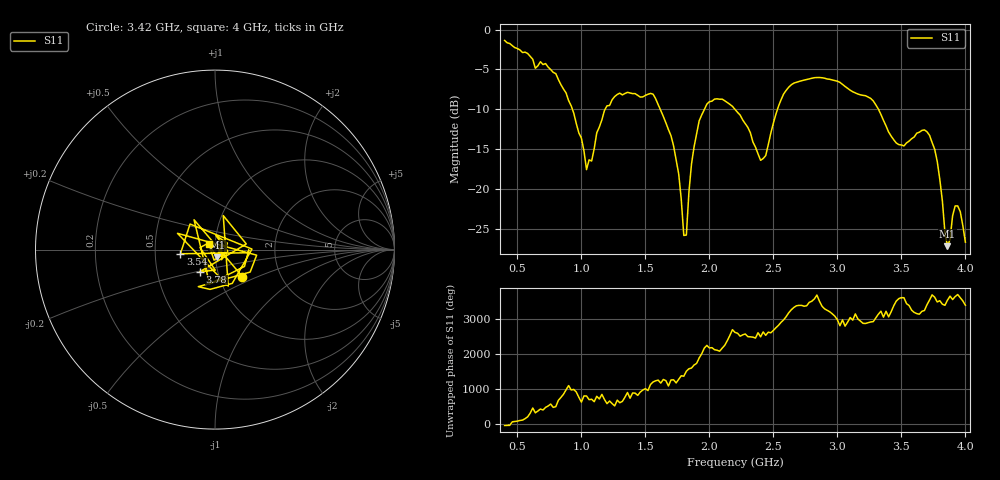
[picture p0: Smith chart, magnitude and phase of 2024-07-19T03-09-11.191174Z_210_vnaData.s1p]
!Created with skrf (http://scikit-rf.org).
# Hz S RI R 50.0
!freq ReS11 ImS11
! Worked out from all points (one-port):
!   181 points, 400 MHz to 4 GHz, reference 50 ohm
!   lowest |S11| = -27.2 dB at 3.86 GHz (marker M1), VSWR 1.09, Z = 51.1 - j4.28 ohm
!   |S11| at or under -10 dB: 1.615 GHz to 1.962 GHz (346.5 MHz wide, 19.4 % of centre); 2.199 GHz to 2.532 GHz (333.8 MHz wide, 14.1 % of centre); 3.32 GHz to end of sweep (the widest 3 of 4)
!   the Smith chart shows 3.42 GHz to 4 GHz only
!   S11 on the Smith chart (normalised r, x): 3.42 GHz: 1.29, -0.41; 3.54 GHz: 0.68, -0.03; 3.78 GHz: 0.82, -0.21; 4 GHz: 0.93, +0.06
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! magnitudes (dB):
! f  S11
! 400 MHz  -1.4
! 860 MHz  -7.5
! 1 GHz  -13.6
! 1.04 GHz  -17.6
! 1.18 GHz  -10.2
! 1.3 GHz  -8.0
! 1.56 GHz  -8.1
! 1.7 GHz  -13.3
! 1.76 GHz  -18.1
! 1.8 GHz  -25.9
! 1.82 GHz  -25.8
! 1.86 GHz  -16.9
! 1.92 GHz  -11.5
! 2.04 GHz  -8.7
! 2.2 GHz  -10.0
! 2.4 GHz  -16.4
! 2.56 GHz  -8.8
! 2.66 GHz  -6.7
! 3.1 GHz  -7.6
! 3.28 GHz  -9.0
! 3.42 GHz  -13.4
! 3.54 GHz  -14.2
! 3.56 GHz  -14.0
! 3.68 GHz  -12.6
! 3.78 GHz  -16.6
! 3.86 GHz  -27.2
! 3.92 GHz  -22.2
! 4 GHz  -26.7
